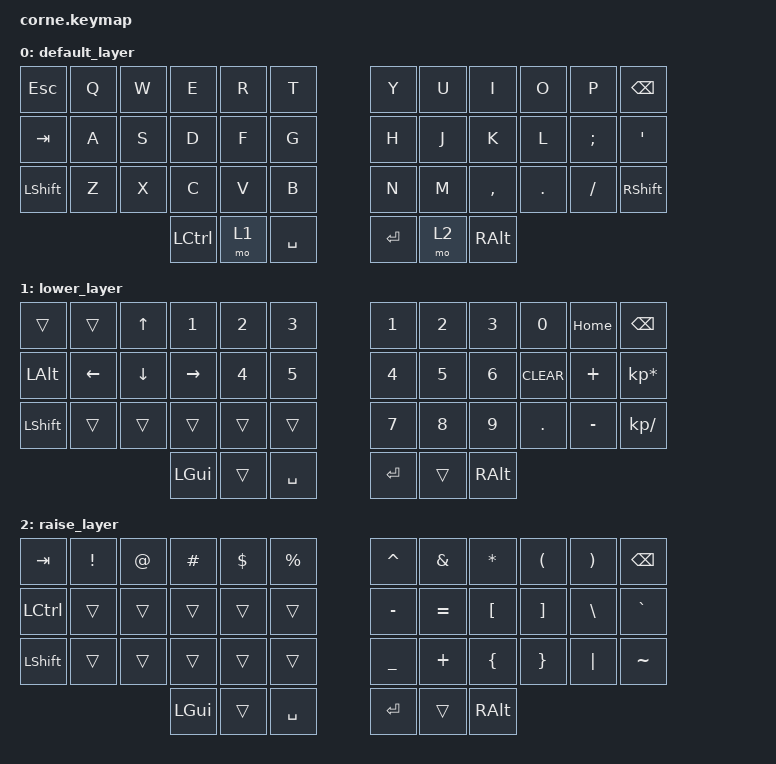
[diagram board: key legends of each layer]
/*
 * Copyright (c) 2020 The ZMK Contributors
 *
 * SPDX-License-Identifier: MIT
 */

#include <behaviors.dtsi>
#include <dt-bindings/zmk/keys.h>

/ {
    keymap {
        compatible = "zmk,keymap";

        default_layer {
            // -----------------------------------------------------------------------------------------
            // |  TAB |  Q  |  W  |  E  |  R  |  T  |   |  Y  |  U   |  I  |  O  |  P  | BKSP |
            // | CTRL |  A  |  S  |  D  |  F  |  G  |   |  H  |  J   |  K  |  L  |  ;  |  '   |
            // | SHFT |  Z  |  X  |  C  |  V  |  B  |   |  N  |  M   |  ,  |  .  |  /  | ESC  |
            //                    | GUI | LWR | SPC |   | ENT | RSE  | ALT |

            bindings = <
&kp ESC    &kp Q  &kp W  &kp E      &kp R  &kp T        &kp Y    &kp U  &kp I      &kp O    &kp P     &kp BSPC
&kp TAB    &kp A  &kp S  &kp D      &kp F  &kp G        &kp H    &kp J  &kp K      &kp L    &kp SEMI  &kp SQT
&kp LSHFT  &kp Z  &kp X  &kp C      &kp V  &kp B        &kp N    &kp M  &kp COMMA  &kp DOT  &kp FSLH  &kp RSHFT
                         &kp LCTRL  &mo 1  &kp SPACE    &kp RET  &mo 2  &kp RALT
            >;
        };

        lower_layer {
            // -----------------------------------------------------------------------------------------
            // |  TAB |  1  |  2  |  3  |  4  |  5  |   |  6  |  7  |  8  |  9  |  0  | BKSP |
            // | BTCLR| BT1 | BT2 | BT3 | BT4 | BT5 |   | LFT | DWN |  UP | RGT |     |      |
            // | SHFT |     |     |     |     |     |   |     |     |     |     |     |      |
            //                    | GUI |     | SPC |   | ENT |     | ALT |

            bindings = <
&trans        &trans    &kp UP    &kp N1     &kp N2  &kp N3       &kp N1   &kp N2  &kp N3    &kp N0     &kp HOME   &kp BSPC
&kp LEFT_ALT  &kp LEFT  &kp DOWN  &kp RIGHT  &kp N4  &kp N5       &kp N4   &kp N5  &kp N6    &kp CLEAR  &kp PLUS   &kp KP_MULTIPLY
&kp LSHFT     &trans    &trans    &trans     &trans  &trans       &kp N7   &kp N8  &kp N9    &kp DOT    &kp MINUS  &kp KP_DIVIDE
                                  &kp LGUI   &trans  &kp SPACE    &kp RET  &trans  &kp RALT
            >;
        };

        raise_layer {
            // -----------------------------------------------------------------------------------------
            // |  TAB |  !  |  @  |  #  |  $  |  %  |   |  ^  |  &  |  *  |  (  |  )  | BKSP |
            // | CTRL |     |     |     |     |     |   |  -  |  =  |  [  |  ]  |  \  |  `   |
            // | SHFT |     |     |     |     |     |   |  _  |  +  |  {  |  }  | "|" |  ~   |
            //                    | GUI |     | SPC |   | ENT |     | ALT |

            bindings = <
&kp TAB    &kp EXCL  &kp AT  &kp HASH  &kp DLLR  &kp PRCNT    &kp CARET  &kp AMPS   &kp ASTRK  &kp LPAR  &kp RPAR  &kp BSPC
&kp LCTRL  &trans    &trans  &trans    &trans    &trans       &kp MINUS  &kp EQUAL  &kp LBKT   &kp RBKT  &kp BSLH  &kp GRAVE
&kp LSHFT  &trans    &trans  &trans    &trans    &trans       &kp UNDER  &kp PLUS   &kp LBRC   &kp RBRC  &kp PIPE  &kp TILDE
                             &kp LGUI  &trans    &kp SPACE    &kp RET    &trans     &kp RALT
            >;
        };
    };
};
